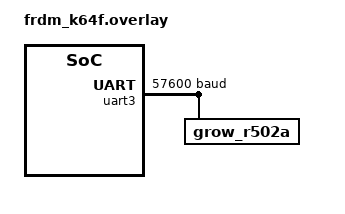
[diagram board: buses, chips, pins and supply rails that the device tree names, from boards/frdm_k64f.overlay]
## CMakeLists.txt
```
# SPDX-License-Identifier: Apache-2.0

cmake_minimum_required(VERSION 3.13.1)
find_package(Zephyr REQUIRED HINTS $ENV{ZEPHYR_BASE})
project(grow_r502a)

FILE(GLOB app_sources src/*.c)
target_sources(app PRIVATE ${app_sources})
```

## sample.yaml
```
sample:
  name: grow_r502a Sensor Sample
tests:
  sample.sensor.grow_r502a:
    harness: sensor
    tags: sensors
    depends_on: serial
```

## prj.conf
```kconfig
CONFIG_GPIO=y
CONFIG_SENSOR=y
CONFIG_GROW_R502A=y
CONFIG_SERIAL=y
CONFIG_LOG=y
CONFIG_UART_CONSOLE=y
```

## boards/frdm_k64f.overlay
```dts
&uart3 {
    current-speed = <57600>;
    status = "okay";
    grow_r502a{
        compatible = "grow_r502a";
        status = "okay";
        label = "GROW_R502A";
    };
};
```

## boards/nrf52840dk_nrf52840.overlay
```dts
/*
 * Copyright (c) 2021, Linumiz
 *
 * SPDX-License-Identifier: Apache-2.0
 */

&uart0 {
    current-speed = <57600>;
    status = "okay";
    grow_r502a{
        compatible = "grow_r502a";
        status = "okay";
        label = "GROW_R502A";
    };
};
```

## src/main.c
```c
/*
 * Copyright (c) 2021 Linumiz
 *
 * SPDX-License-Identifier: Apache-2.0
 */

#include <zephyr.h>
#include <device.h>
#include <drivers/sensor.h>
#include <stdio.h>

void main(void)
{
	const struct device *dev =  device_get_binding(DT_LABEL(DT_INST(0, grow_r502a)));

	printk("Device name is %s\n", dev->name);

	struct sensor_value val, fid;
	int ret;

	fid.val1 = 1;
	fid.val2 = 1;

	sensor_sample_fetch(dev);
	sensor_channel_get(dev, SENSOR_CHAN_FINGERPRINT, &val);
	printk("template count : %d\n", val.val1);
	printk("Capacity of FPS : %d\n", val.val2);

	ret = sensor_attr_set(dev, SENSOR_CHAN_FINGERPRINT, SENSOR_ATTR_ADD, &fid);
	if (ret != 0) {
		printk("Sensor attr set failed %d\n", ret);
	}


}
```
